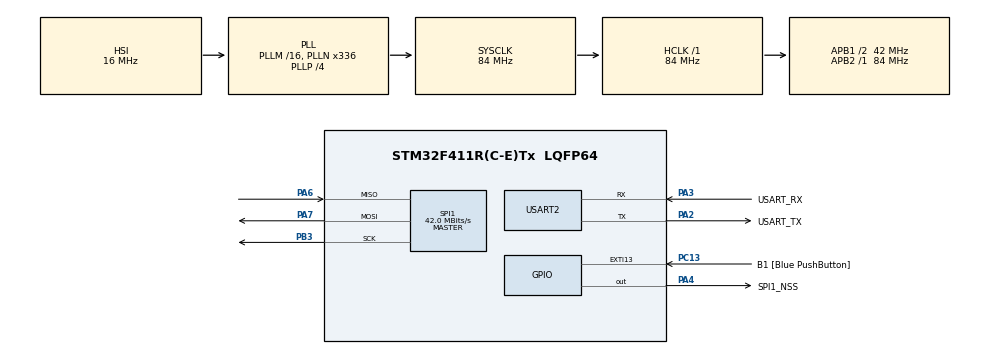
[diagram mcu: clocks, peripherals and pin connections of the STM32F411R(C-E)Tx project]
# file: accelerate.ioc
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Dma.Request0=USART2_TX
Dma.USART2_TX.0.Direction=DMA_MEMORY_TO_PERIPH
Dma.USART2_TX.0.FIFOMode=DMA_FIFOMODE_DISABLE
Dma.USART2_TX.0.Instance=DMA1_Stream6
Dma.USART2_TX.0.MemDataAlignment=DMA_MDATAALIGN_BYTE
Dma.USART2_TX.0.MemInc=DMA_MINC_ENABLE
Dma.USART2_TX.0.Mode=DMA_NORMAL
Dma.USART2_TX.0.PeriphDataAlignment=DMA_PDATAALIGN_BYTE
Dma.USART2_TX.0.PeriphInc=DMA_PINC_DISABLE
Dma.USART2_TX.0.Priority=DMA_PRIORITY_LOW
Mcu.Family=STM32F4
Mcu.Name=STM32F411R(C-E)Tx
Mcu.Package=LQFP64
NVIC.DMA1_Stream6_IRQn=true\:0\:0\:false\:false\:true\:false\:true\:true
NVIC.PriorityGroup=NVIC_PRIORITYGROUP_0
NVIC.SPI1_IRQn=true\:0\:0\:false\:false\:true\:true\:true\:true
NVIC.USART2_IRQn=true\:0\:0\:false\:false\:true\:true\:true\:true
PA13.GPIO_Label=TMS
PA13.Mode=Serial_Wire
PA13.Signal=SYS_JTMS-SWDIO
PA14.GPIO_Label=TCK
PA14.Mode=Serial_Wire
PA14.Signal=SYS_JTCK-SWCLK
PA2.GPIO_Label=USART_TX
PA2.Mode=Asynchronous
PA2.Signal=USART2_TX
PA3.GPIO_Label=USART_RX
PA3.Mode=Asynchronous
PA3.Signal=USART2_RX
PA4.GPIO_Label=SPI1_NSS
PA4.Signal=GPIO_Output
PA6.Mode=Full_Duplex_Master
PA6.Signal=SPI1_MISO
PA7.Mode=Full_Duplex_Master
PA7.Signal=SPI1_MOSI
PB3.Mode=Full_Duplex_Master
PB3.Signal=SPI1_SCK
PC13-ANTI_TAMP.GPIO_Label=B1 [Blue PushButton]
PC13-ANTI_TAMP.GPIO_ModeDefaultEXTI=GPIO_MODE_IT_FALLING
PC13-ANTI_TAMP.Signal=GPXTI13
PC14-OSC32_IN.Mode=LSE-External-Oscillator
PC14-OSC32_IN.Signal=RCC_OSC32_IN
PC15-OSC32_OUT.Mode=LSE-External-Oscillator
PC15-OSC32_OUT.Signal=RCC_OSC32_OUT
PH0\ -\ OSC_IN.Mode=HSE-External-Clock-Source
PH0\ -\ OSC_IN.Signal=RCC_OSC_IN
PH1\ -\ OSC_OUT.Mode=HSE-External-Clock-Source
PH1\ -\ OSC_OUT.Signal=RCC_OSC_OUT
ProjectManager.HeapSize=0x200
ProjectManager.StackSize=0x400
ProjectManager.TargetToolchain=STM32CubeIDE
RCC.48MHZClocksFreq_Value=84000000
RCC.AHBFreq_Value=84000000
RCC.APB1CLKDivider=RCC_HCLK_DIV2
RCC.APB1Freq_Value=42000000
RCC.APB1TimFreq_Value=84000000
RCC.APB2Freq_Value=84000000
RCC.APB2TimFreq_Value=84000000
RCC.CortexFreq_Value=84000000
RCC.FLatency-AdvancedSettings=FLASH_LATENCY_2
RCC.HCLKFreq_Value=84000000
RCC.HSE_VALUE=8000000
RCC.HSI_VALUE=16000000
RCC.PLLN=336
RCC.PLLP=RCC_PLLP_DIV4
RCC.SYSCLKFreq_VALUE=84000000
RCC.SYSCLKSource=RCC_SYSCLKSOURCE_PLLCLK
RCC.VCOOutputFreq_Value=336000000
SPI1.CLKPhase=SPI_PHASE_2EDGE
SPI1.CLKPolarity=SPI_POLARITY_HIGH
SPI1.CRCCalculation=SPI_CRCCALCULATION_DISABLE
SPI1.CalculateBaudRate=42.0 MBits/s
SPI1.Direction=SPI_DIRECTION_2LINES
SPI1.Mode=SPI_MODE_MASTER
SPI1.VirtualType=VM_MASTER
USART2.VirtualMode=VM_ASYNC
board=NUCLEO-F411RE

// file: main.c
/* USER CODE BEGIN Header */
/**
  ******************************************************************************
  * @file           : main.c
  * @brief          : Main program body
  ******************************************************************************
  * @attention
  *
  * Copyright (c) 2023 STMicroelectronics.
  * All rights reserved.
  *
  * This software is licensed under terms that can be found in the LICENSE file
  * in the root directory of this software component.
  * If no LICENSE file comes with this software, it is provided AS-IS.
  *
  ******************************************************************************
  */
/* USER CODE END Header */
#include "main.h"

SPI_HandleTypeDef hspi1;

UART_HandleTypeDef huart2;
DMA_HandleTypeDef hdma_usart2_tx;

void SystemClock_Config(void);
static void MX_GPIO_Init(void);
static void MX_DMA_Init(void);
static void MX_USART2_UART_Init(void);
static void MX_SPI1_Init(void);
/* USER CODE BEGIN PFP */

uint8_t MEMSTxBuf[2];
uint8_t MEMSRxBuf[2];
volatile uint8_t Mems[3];
uint8_t txBuff[100];

/* USER CODE END PFP */

/* USER CODE BEGIN 0 */

void HAL_UART_TxCpltCallback(UART_HandleTypeDef *huart) {

	snprintf(txBuff, sizeof(txBuff), "x: %d, y: %d, z: %d\n", Mems[0], Mems[1], Mems[2]);
	HAL_UART_Transmit_DMA(huart, txBuff, strlen(txBuff));
}

/* USER CODE END 0 */

int main(void)
{

  /* MCU Configuration--------------------------------------------------------*/

  /* Reset of all peripherals, Initializes the Flash interface and the Systick. */
  HAL_Init();

  /* Configure the system clock */
  SystemClock_Config();

  /* Initialize all configured peripherals */
  MX_GPIO_Init();
  MX_DMA_Init();
  MX_USART2_UART_Init();
  MX_SPI1_Init();
  /* USER CODE BEGIN 2 */

  MEMSTxBuf[0] = 0x00 | 0x20;
  MEMSTxBuf[1] = 0x47;

  HAL_GPIO_WritePin(SPI1_NSS_GPIO_Port, SPI1_NSS_Pin, GPIO_PIN_RESET);
  HAL_SPI_Transmit(&hspi1, MEMSTxBuf, 2, 10);
  HAL_GPIO_WritePin(SPI1_NSS_GPIO_Port, SPI1_NSS_Pin, GPIO_PIN_SET);

  const uint8_t* temp = "Witam!\n";
  HAL_UART_Transmit_DMA(&huart2, temp, strlen(temp));

  /* USER CODE END 2 */

  /* Infinite loop */
  /* USER CODE BEGIN WHILE */
  while (1)
  {

	  HAL_Delay(100);

	  MEMSRxBuf[0] = 0x80 | 0x29;
	  MEMSRxBuf[1] = 0x29;

	  HAL_GPIO_WritePin(SPI1_NSS_GPIO_Port, SPI1_NSS_Pin, GPIO_PIN_RESET);
	  HAL_SPI_Receive(&hspi1, MEMSRxBuf, 2, 10);
	  HAL_GPIO_WritePin(SPI1_NSS_GPIO_Port, SPI1_NSS_Pin, GPIO_PIN_SET);
	  Mems[0] = MEMSRxBuf[1];

	  MEMSRxBuf[0] = 0x80 | 0x2B;
	  MEMSRxBuf[1] = 0x29;

	  HAL_GPIO_WritePin(SPI1_NSS_GPIO_Port, SPI1_NSS_Pin, GPIO_PIN_RESET);
	  HAL_SPI_Receive(&hspi1, MEMSRxBuf, 2, 10);
	  HAL_GPIO_WritePin(SPI1_NSS_GPIO_Port, SPI1_NSS_Pin, GPIO_PIN_SET);
	  Mems[1] = MEMSRxBuf[1];

	  MEMSRxBuf[0] = 0x80 | 0x2D;
	  MEMSRxBuf[1] = 0x29;

	  HAL_GPIO_WritePin(SPI1_NSS_GPIO_Port, SPI1_NSS_Pin, GPIO_PIN_RESET);
	  HAL_SPI_Receive(&hspi1, MEMSRxBuf, 2, 10);
	  HAL_GPIO_WritePin(SPI1_NSS_GPIO_Port, SPI1_NSS_Pin, GPIO_PIN_SET);
	  Mems[2] = MEMSRxBuf[1];

    /* USER CODE END WHILE */

  }
}

void SystemClock_Config(void)
{
  RCC_OscInitTypeDef RCC_OscInitStruct = {0};
  RCC_ClkInitTypeDef RCC_ClkInitStruct = {0};

  /** Configure the main internal regulator output voltage
  */
  __HAL_RCC_PWR_CLK_ENABLE();
  __HAL_PWR_VOLTAGESCALING_CONFIG(PWR_REGULATOR_VOLTAGE_SCALE1);

  /** Initializes the RCC Oscillators according to the specified parameters
  * in the RCC_OscInitTypeDef structure.
  */
  RCC_OscInitStruct.OscillatorType = RCC_OSCILLATORTYPE_HSI;
  RCC_OscInitStruct.HSIState = RCC_HSI_ON;
  RCC_OscInitStruct.HSICalibrationValue = RCC_HSICALIBRATION_DEFAULT;
  RCC_OscInitStruct.PLL.PLLState = RCC_PLL_ON;
  RCC_OscInitStruct.PLL.PLLSource = RCC_PLLSOURCE_HSI;
  RCC_OscInitStruct.PLL.PLLM = 16;
  RCC_OscInitStruct.PLL.PLLN = 336;
  RCC_OscInitStruct.PLL.PLLP = RCC_PLLP_DIV4;
  RCC_OscInitStruct.PLL.PLLQ = 4;
  if (HAL_RCC_OscConfig(&RCC_OscInitStruct) != HAL_OK)
  {
    Error_Handler();
  }

  /** Initializes the CPU, AHB and APB buses clocks
  */
  RCC_ClkInitStruct.ClockType = RCC_CLOCKTYPE_HCLK|RCC_CLOCKTYPE_SYSCLK
                              |RCC_CLOCKTYPE_PCLK1|RCC_CLOCKTYPE_PCLK2;
  RCC_ClkInitStruct.SYSCLKSource = RCC_SYSCLKSOURCE_PLLCLK;
  RCC_ClkInitStruct.AHBCLKDivider = RCC_SYSCLK_DIV1;
  RCC_ClkInitStruct.APB1CLKDivider = RCC_HCLK_DIV2;
  RCC_ClkInitStruct.APB2CLKDivider = RCC_HCLK_DIV1;

  if (HAL_RCC_ClockConfig(&RCC_ClkInitStruct, FLASH_LATENCY_2) != HAL_OK)
  {
    Error_Handler();
  }
}

static void MX_SPI1_Init(void)
{

  /* SPI1 parameter configuration*/
  hspi1.Instance = SPI1;
  hspi1.Init.Mode = SPI_MODE_MASTER;
  hspi1.Init.Direction = SPI_DIRECTION_2LINES;
  hspi1.Init.DataSize = SPI_DATASIZE_8BIT;
  hspi1.Init.CLKPolarity = SPI_POLARITY_HIGH;
  hspi1.Init.CLKPhase = SPI_PHASE_2EDGE;
  hspi1.Init.NSS = SPI_NSS_SOFT;
  hspi1.Init.BaudRatePrescaler = SPI_BAUDRATEPRESCALER_2;
  hspi1.Init.FirstBit = SPI_FIRSTBIT_MSB;
  hspi1.Init.TIMode = SPI_TIMODE_DISABLE;
  hspi1.Init.CRCCalculation = SPI_CRCCALCULATION_DISABLE;
  hspi1.Init.CRCPolynomial = 10;
  if (HAL_SPI_Init(&hspi1) != HAL_OK)
  {
    Error_Handler();
  }

}

static void MX_USART2_UART_Init(void)
{

  huart2.Instance = USART2;
  huart2.Init.BaudRate = 115200;
  huart2.Init.WordLength = UART_WORDLENGTH_8B;
  huart2.Init.StopBits = UART_STOPBITS_1;
  huart2.Init.Parity = UART_PARITY_NONE;
  huart2.Init.Mode = UART_MODE_TX_RX;
  huart2.Init.HwFlowCtl = UART_HWCONTROL_NONE;
  huart2.Init.OverSampling = UART_OVERSAMPLING_16;
  if (HAL_UART_Init(&huart2) != HAL_OK)
  {
    Error_Handler();
  }

}

static void MX_DMA_Init(void)
{

  /* DMA controller clock enable */
  __HAL_RCC_DMA1_CLK_ENABLE();

  /* DMA interrupt init */
  /* DMA1_Stream6_IRQn interrupt configuration */
  HAL_NVIC_SetPriority(DMA1_Stream6_IRQn, 0, 0);
  HAL_NVIC_EnableIRQ(DMA1_Stream6_IRQn);

}

static void MX_GPIO_Init(void)
{
  GPIO_InitTypeDef GPIO_InitStruct = {0};

  /* GPIO Ports Clock Enable */
  __HAL_RCC_GPIOC_CLK_ENABLE();
  __HAL_RCC_GPIOH_CLK_ENABLE();
  __HAL_RCC_GPIOA_CLK_ENABLE();
  __HAL_RCC_GPIOB_CLK_ENABLE();

  /*Configure GPIO pin Output Level */
  HAL_GPIO_WritePin(SPI1_NSS_GPIO_Port, SPI1_NSS_Pin, GPIO_PIN_RESET);

  /*Configure GPIO pin : B1_Pin */
  GPIO_InitStruct.Pin = B1_Pin;
  GPIO_InitStruct.Mode = GPIO_MODE_IT_FALLING;
  GPIO_InitStruct.Pull = GPIO_NOPULL;
  HAL_GPIO_Init(B1_GPIO_Port, &GPIO_InitStruct);

  /*Configure GPIO pin : SPI1_NSS_Pin */
  GPIO_InitStruct.Pin = SPI1_NSS_Pin;
  GPIO_InitStruct.Mode = GPIO_MODE_OUTPUT_PP;
  GPIO_InitStruct.Pull = GPIO_NOPULL;
  GPIO_InitStruct.Speed = GPIO_SPEED_FREQ_LOW;
  HAL_GPIO_Init(SPI1_NSS_GPIO_Port, &GPIO_InitStruct);

}

void Error_Handler(void)
{
  __disable_irq();
  while (1)
  {
  }
}
